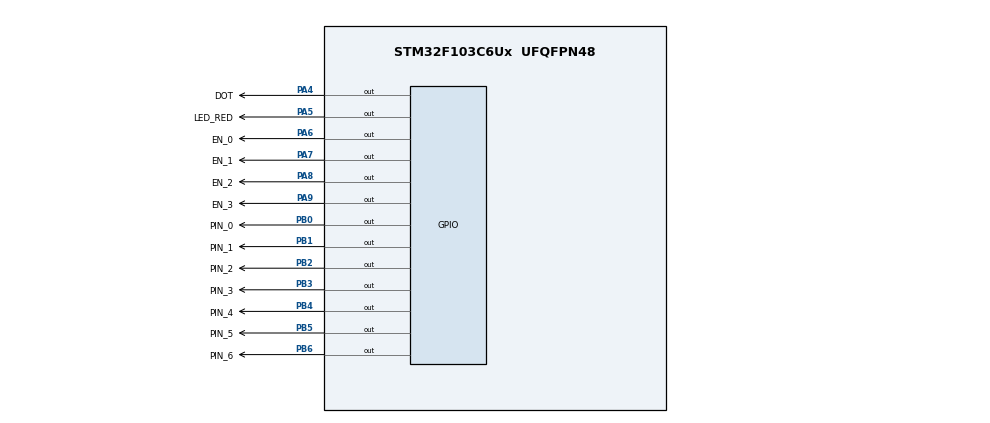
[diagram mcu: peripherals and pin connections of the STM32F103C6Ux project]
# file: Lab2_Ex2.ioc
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Mcu.Family=STM32F1
Mcu.Name=STM32F103C6Ux
Mcu.Package=UFQFPN48
NVIC.PriorityGroup=NVIC_PRIORITYGROUP_4
NVIC.TIM2_IRQn=true\:0\:0\:false\:false\:true\:true\:true
PA4.GPIO_Label=DOT
PA4.Signal=GPIO_Output
PA5.GPIO_Label=LED_RED
PA5.Signal=GPIO_Output
PA6.GPIO_Label=EN_0
PA6.Signal=GPIO_Output
PA7.GPIO_Label=EN_1
PA7.Signal=GPIO_Output
PA8.GPIO_Label=EN_2
PA8.Signal=GPIO_Output
PA9.GPIO_Label=EN_3
PA9.Signal=GPIO_Output
PB0.GPIO_Label=PIN_0
PB0.Signal=GPIO_Output
PB1.GPIO_Label=PIN_1
PB1.Signal=GPIO_Output
PB2.GPIO_Label=PIN_2
PB2.Signal=GPIO_Output
PB3.GPIO_Label=PIN_3
PB3.Signal=GPIO_Output
PB4.GPIO_Label=PIN_4
PB4.Signal=GPIO_Output
PB5.GPIO_Label=PIN_5
PB5.Signal=GPIO_Output
PB6.GPIO_Label=PIN_6
PB6.Signal=GPIO_Output
ProjectManager.HeapSize=0x200
ProjectManager.StackSize=0x400
ProjectManager.TargetToolchain=STM32CubeIDE
RCC.APB1Freq_Value=8000000
RCC.APB2Freq_Value=8000000
TIM2.Period=9
TIM2.Prescaler=7999
VP_SYS_VS_ND.Mode=No_Debug
VP_TIM2_VS_ClockSourceINT.Mode=Internal
board=custom

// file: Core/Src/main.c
/* USER CODE BEGIN Header */
/**
  ******************************************************************************
  * @file           : main.c
  * @brief          : Main program body
  ******************************************************************************
  * @attention
  *
  * <h2><center>&copy; Copyright (c) 2025 STMicroelectronics.
  * All rights reserved.</center></h2>
  *
  * This software component is licensed by ST under BSD 3-Clause license,
  * the "License"; You may not use this file except in compliance with the
  * License. You may obtain a copy of the License at:
  *                        opensource.org/licenses/BSD-3-Clause
  *
  ******************************************************************************
  */
/* USER CODE END Header */
#include "main.h"

TIM_HandleTypeDef htim2;

/* USER CODE BEGIN PV */
const int MAX_LED = 4;
int index_led = 0;
int led_buffer[4] = {1, 2, 3, 4};
/* USER CODE END PV */

void SystemClock_Config(void);
static void MX_TIM2_Init(void);
static void MX_GPIO_Init(void);

int main(void)
{

  /* MCU Configuration--------------------------------------------------------*/

  /* Reset of all peripherals, Initializes the Flash interface and the Systick. */
  HAL_Init();

  /* Configure the system clock */
  SystemClock_Config();

  /* Initialize all configured peripherals */
  MX_TIM2_Init();
  MX_GPIO_Init();
  /* USER CODE BEGIN 2 */
  HAL_TIM_Base_Start_IT (& htim2 );
  /* USER CODE END 2 */

  /* Infinite loop */
  while (1)
  {

  }
}

void SystemClock_Config(void)
{
  RCC_OscInitTypeDef RCC_OscInitStruct = {0};
  RCC_ClkInitTypeDef RCC_ClkInitStruct = {0};

  /** Initializes the RCC Oscillators according to the specified parameters
  * in the RCC_OscInitTypeDef structure.
  */
  RCC_OscInitStruct.OscillatorType = RCC_OSCILLATORTYPE_HSI;
  RCC_OscInitStruct.HSIState = RCC_HSI_ON;
  RCC_OscInitStruct.HSICalibrationValue = RCC_HSICALIBRATION_DEFAULT;
  RCC_OscInitStruct.PLL.PLLState = RCC_PLL_NONE;
  if (HAL_RCC_OscConfig(&RCC_OscInitStruct) != HAL_OK)
  {
    Error_Handler();
  }
  /** Initializes the CPU, AHB and APB buses clocks
  */
  RCC_ClkInitStruct.ClockType = RCC_CLOCKTYPE_HCLK|RCC_CLOCKTYPE_SYSCLK
                              |RCC_CLOCKTYPE_PCLK1|RCC_CLOCKTYPE_PCLK2;
  RCC_ClkInitStruct.SYSCLKSource = RCC_SYSCLKSOURCE_HSI;
  RCC_ClkInitStruct.AHBCLKDivider = RCC_SYSCLK_DIV1;
  RCC_ClkInitStruct.APB1CLKDivider = RCC_HCLK_DIV1;
  RCC_ClkInitStruct.APB2CLKDivider = RCC_HCLK_DIV1;

  if (HAL_RCC_ClockConfig(&RCC_ClkInitStruct, FLASH_LATENCY_0) != HAL_OK)
  {
    Error_Handler();
  }
}

static void MX_TIM2_Init(void)
{

  TIM_ClockConfigTypeDef sClockSourceConfig = {0};
  TIM_MasterConfigTypeDef sMasterConfig = {0};

  htim2.Instance = TIM2;
  htim2.Init.Prescaler = 7999;
  htim2.Init.CounterMode = TIM_COUNTERMODE_UP;
  htim2.Init.Period = 9;
  htim2.Init.ClockDivision = TIM_CLOCKDIVISION_DIV1;
  htim2.Init.AutoReloadPreload = TIM_AUTORELOAD_PRELOAD_DISABLE;
  if (HAL_TIM_Base_Init(&htim2) != HAL_OK)
  {
    Error_Handler();
  }
  sClockSourceConfig.ClockSource = TIM_CLOCKSOURCE_INTERNAL;
  if (HAL_TIM_ConfigClockSource(&htim2, &sClockSourceConfig) != HAL_OK)
  {
    Error_Handler();
  }
  sMasterConfig.MasterOutputTrigger = TIM_TRGO_RESET;
  sMasterConfig.MasterSlaveMode = TIM_MASTERSLAVEMODE_DISABLE;
  if (HAL_TIMEx_MasterConfigSynchronization(&htim2, &sMasterConfig) != HAL_OK)
  {
    Error_Handler();
  }

}

static void MX_GPIO_Init(void)
{
  GPIO_InitTypeDef GPIO_InitStruct = {0};

  /* GPIO Ports Clock Enable */
  __HAL_RCC_GPIOA_CLK_ENABLE();
  __HAL_RCC_GPIOB_CLK_ENABLE();

  /*Configure GPIO pin Output Level */
  HAL_GPIO_WritePin(GPIOA, DOT_Pin|LED_RED_Pin|EN_0_Pin|EN_1_Pin
                          |EN_2_Pin|EN_3_Pin, GPIO_PIN_RESET);

  /*Configure GPIO pin Output Level */
  HAL_GPIO_WritePin(GPIOB, PIN_0_Pin|PIN_1_Pin|PIN_2_Pin|PIN_3_Pin
                          |PIN_4_Pin|PIN_5_Pin|PIN_6_Pin, GPIO_PIN_RESET);

  /*Configure GPIO pins : DOT_Pin LED_RED_Pin EN_0_Pin EN_1_Pin
                           EN_2_Pin EN_3_Pin */
  GPIO_InitStruct.Pin = DOT_Pin|LED_RED_Pin|EN_0_Pin|EN_1_Pin
                          |EN_2_Pin|EN_3_Pin;
  GPIO_InitStruct.Mode = GPIO_MODE_OUTPUT_PP;
  GPIO_InitStruct.Pull = GPIO_NOPULL;
  GPIO_InitStruct.Speed = GPIO_SPEED_FREQ_LOW;
  HAL_GPIO_Init(GPIOA, &GPIO_InitStruct);

  /*Configure GPIO pins : PIN_0_Pin PIN_1_Pin PIN_2_Pin PIN_3_Pin
                           PIN_4_Pin PIN_5_Pin PIN_6_Pin */
  GPIO_InitStruct.Pin = PIN_0_Pin|PIN_1_Pin|PIN_2_Pin|PIN_3_Pin
                          |PIN_4_Pin|PIN_5_Pin|PIN_6_Pin;
  GPIO_InitStruct.Mode = GPIO_MODE_OUTPUT_PP;
  GPIO_InitStruct.Pull = GPIO_NOPULL;
  GPIO_InitStruct.Speed = GPIO_SPEED_FREQ_LOW;
  HAL_GPIO_Init(GPIOB, &GPIO_InitStruct);

}

/* USER CODE BEGIN 4 */
void update7SEG(int index){
	display7SEG(led_buffer[index]);
	switch(index){
		case 0:
			// Hiển thị số led_buffer[0] trên LED 1
			HAL_GPIO_WritePin(EN_1_GPIO_Port, EN_1_Pin, GPIO_PIN_SET);
			HAL_GPIO_WritePin(EN_2_GPIO_Port, EN_2_Pin, GPIO_PIN_SET);
			HAL_GPIO_WritePin(EN_3_GPIO_Port, EN_3_Pin, GPIO_PIN_SET);
			HAL_GPIO_WritePin(EN_0_GPIO_Port, EN_0_Pin, GPIO_PIN_RESET);
			break;
		case 1:
			// Hiển thị số led_buffer[1] trên LED 2
			HAL_GPIO_WritePin(EN_0_GPIO_Port, EN_0_Pin, GPIO_PIN_SET);
			HAL_GPIO_WritePin(EN_2_GPIO_Port, EN_2_Pin, GPIO_PIN_SET);
			HAL_GPIO_WritePin(EN_3_GPIO_Port, EN_3_Pin, GPIO_PIN_SET);
			HAL_GPIO_WritePin(EN_1_GPIO_Port, EN_1_Pin, GPIO_PIN_RESET);
			break;
		case 2:
			// Hiển thị số led_buffer[2] trên LED 3
			HAL_GPIO_WritePin(EN_0_GPIO_Port, EN_0_Pin, GPIO_PIN_SET);
			HAL_GPIO_WritePin(EN_1_GPIO_Port, EN_1_Pin, GPIO_PIN_SET);
			HAL_GPIO_WritePin(EN_3_GPIO_Port, EN_3_Pin, GPIO_PIN_SET);
			HAL_GPIO_WritePin(EN_2_GPIO_Port, EN_2_Pin, GPIO_PIN_RESET);
			break;
		case 3:
			// Hiển thị số led_buffer[3] trên LED 4
			HAL_GPIO_WritePin(EN_0_GPIO_Port, EN_0_Pin, GPIO_PIN_SET);
			HAL_GPIO_WritePin(EN_1_GPIO_Port, EN_1_Pin, GPIO_PIN_SET);
			HAL_GPIO_WritePin(EN_2_GPIO_Port, EN_2_Pin, GPIO_PIN_SET);
			HAL_GPIO_WritePin(EN_3_GPIO_Port, EN_3_Pin, GPIO_PIN_RESET);
			break;
		default:
			break;
	}
}
int timer_counter = 0;
void HAL_TIM_PeriodElapsedCallback(TIM_HandleTypeDef *htim) {
	if (htim->Instance == TIM2) {
		if (timer_counter % 25 == 0) {
			update7SEG(index_led);
			index_led++;
			if (index_led >= MAX_LED) {
				index_led = 0;
			}
		}

		if (timer_counter % 50 == 0) {
			HAL_GPIO_TogglePin(DOT_GPIO_Port, DOT_Pin);
		}

		timer_counter++;
		if (timer_counter >= 100) {
			timer_counter = 0;
		}
	}
}
void display7SEG(int num) {
    switch(num) {
      case 0:
        HAL_GPIO_WritePin(GPIOB, GPIO_PIN_0, GPIO_PIN_RESET); // a
        HAL_GPIO_WritePin(GPIOB, GPIO_PIN_1, GPIO_PIN_RESET); // b
        HAL_GPIO_WritePin(GPIOB, GPIO_PIN_2, GPIO_PIN_RESET); // c
        HAL_GPIO_WritePin(GPIOB, GPIO_PIN_3, GPIO_PIN_RESET); // d
        HAL_GPIO_WritePin(GPIOB, GPIO_PIN_4, GPIO_PIN_RESET); // e
        HAL_GPIO_WritePin(GPIOB, GPIO_PIN_5, GPIO_PIN_RESET); // f
        HAL_GPIO_WritePin(GPIOB, GPIO_PIN_6, GPIO_PIN_SET);   // g
        break;
      case 1:
        HAL_GPIO_WritePin(GPIOB, GPIO_PIN_0, GPIO_PIN_SET);   // a
        HAL_GPIO_WritePin(GPIOB, GPIO_PIN_1, GPIO_PIN_RESET); // b
        HAL_GPIO_WritePin(GPIOB, GPIO_PIN_2, GPIO_PIN_RESET); // c
        HAL_GPIO_WritePin(GPIOB, GPIO_PIN_3, GPIO_PIN_SET);   // d
        HAL_GPIO_WritePin(GPIOB, GPIO_PIN_4, GPIO_PIN_SET);   // e
        HAL_GPIO_WritePin(GPIOB, GPIO_PIN_5, GPIO_PIN_SET);   // f
        HAL_GPIO_WritePin(GPIOB, GPIO_PIN_6, GPIO_PIN_SET);   // g
        break;
      case 2:
        HAL_GPIO_WritePin(GPIOB, GPIO_PIN_0, GPIO_PIN_RESET); // a
        HAL_GPIO_WritePin(GPIOB, GPIO_PIN_1, GPIO_PIN_RESET); // b
        HAL_GPIO_WritePin(GPIOB, GPIO_PIN_2, GPIO_PIN_SET);   // c
        HAL_GPIO_WritePin(GPIOB, GPIO_PIN_3, GPIO_PIN_RESET); // d
        HAL_GPIO_WritePin(GPIOB, GPIO_PIN_4, GPIO_PIN_RESET); // e
        HAL_GPIO_WritePin(GPIOB, GPIO_PIN_5, GPIO_PIN_SET);   // f
        HAL_GPIO_WritePin(GPIOB, GPIO_PIN_6, GPIO_PIN_RESET); // g
        break;
      case 3:
        HAL_GPIO_WritePin(GPIOB, GPIO_PIN_0, GPIO_PIN_RESET); // a
        HAL_GPIO_WritePin(GPIOB, GPIO_PIN_1, GPIO_PIN_RESET); // b
        HAL_GPIO_WritePin(GPIOB, GPIO_PIN_2, GPIO_PIN_RESET); // c
        HAL_GPIO_WritePin(GPIOB, GPIO_PIN_3, GPIO_PIN_RESET); // d
        HAL_GPIO_WritePin(GPIOB, GPIO_PIN_4, GPIO_PIN_SET);   // e
        HAL_GPIO_WritePin(GPIOB, GPIO_PIN_5, GPIO_PIN_SET);   // f
        HAL_GPIO_WritePin(GPIOB, GPIO_PIN_6, GPIO_PIN_RESET); // g
        break;
      case 4:
        HAL_GPIO_WritePin(GPIOB, GPIO_PIN_0, GPIO_PIN_SET);   // a
        HAL_GPIO_WritePin(GPIOB, GPIO_PIN_1, GPIO_PIN_RESET); // b
        HAL_GPIO_WritePin(GPIOB, GPIO_PIN_2, GPIO_PIN_RESET); // c
        HAL_GPIO_WritePin(GPIOB, GPIO_PIN_3, GPIO_PIN_SET);   // d
        HAL_GPIO_WritePin(GPIOB, GPIO_PIN_4, GPIO_PIN_SET);   // e
        HAL_GPIO_WritePin(GPIOB, GPIO_PIN_5, GPIO_PIN_RESET); // f
        HAL_GPIO_WritePin(GPIOB, GPIO_PIN_6, GPIO_PIN_RESET); // g
        break;
      case 5:
        HAL_GPIO_WritePin(GPIOB, GPIO_PIN_0, GPIO_PIN_RESET); // a
        HAL_GPIO_WritePin(GPIOB, GPIO_PIN_1, GPIO_PIN_SET);   // b
        HAL_GPIO_WritePin(GPIOB, GPIO_PIN_2, GPIO_PIN_RESET); // c
        HAL_GPIO_WritePin(GPIOB, GPIO_PIN_3, GPIO_PIN_RESET); // d
        HAL_GPIO_WritePin(GPIOB, GPIO_PIN_4, GPIO_PIN_SET);   // e
        HAL_GPIO_WritePin(GPIOB, GPIO_PIN_5, GPIO_PIN_RESET); // f
        HAL_GPIO_WritePin(GPIOB, GPIO_PIN_6, GPIO_PIN_RESET); // g
        break;
      case 6:
        HAL_GPIO_WritePin(GPIOB, GPIO_PIN_0, GPIO_PIN_RESET); // a
        HAL_GPIO_WritePin(GPIOB, GPIO_PIN_1, GPIO_PIN_SET);   // b
        HAL_GPIO_WritePin(GPIOB, GPIO_PIN_2, GPIO_PIN_RESET); // c
        HAL_GPIO_WritePin(GPIOB, GPIO_PIN_3, GPIO_PIN_RESET); // d
        HAL_GPIO_WritePin(GPIOB, GPIO_PIN_4, GPIO_PIN_RESET); // e
        HAL_GPIO_WritePin(GPIOB, GPIO_PIN_5, GPIO_PIN_RESET); // f
        HAL_GPIO_WritePin(GPIOB, GPIO_PIN_6, GPIO_PIN_RESET); // g
        break;
      case 7:
        HAL_GPIO_WritePin(GPIOB, GPIO_PIN_0, GPIO_PIN_RESET); // a
        HAL_GPIO_WritePin(GPIOB, GPIO_PIN_1, GPIO_PIN_RESET); // b
        HAL_GPIO_WritePin(GPIOB, GPIO_PIN_2, GPIO_PIN_RESET); // c
        HAL_GPIO_WritePin(GPIOB, GPIO_PIN_3, GPIO_PIN_SET);   // d
        HAL_GPIO_WritePin(GPIOB, GPIO_PIN_4, GPIO_PIN_SET);   // e
        HAL_GPIO_WritePin(GPIOB, GPIO_PIN_5, GPIO_PIN_SET);   // f
        HAL_GPIO_WritePin(GPIOB, GPIO_PIN_6, GPIO_PIN_SET);   // g
        break;
      case 8:
        HAL_GPIO_WritePin(GPIOB, GPIO_PIN_0, GPIO_PIN_RESET); // a
        HAL_GPIO_WritePin(GPIOB, GPIO_PIN_1, GPIO_PIN_RESET); // b
        HAL_GPIO_WritePin(GPIOB, GPIO_PIN_2, GPIO_PIN_RESET); // c
        HAL_GPIO_WritePin(GPIOB, GPIO_PIN_3, GPIO_PIN_RESET); // d
        HAL_GPIO_WritePin(GPIOB, GPIO_PIN_4, GPIO_PIN_RESET); // e
        HAL_GPIO_WritePin(GPIOB, GPIO_PIN_5, GPIO_PIN_RESET); // f
        HAL_GPIO_WritePin(GPIOB, GPIO_PIN_6, GPIO_PIN_RESET); // g
        break;
      case 9:
        HAL_GPIO_WritePin(GPIOB, GPIO_PIN_0, GPIO_PIN_RESET); // a
        HAL_GPIO_WritePin(GPIOB, GPIO_PIN_1, GPIO_PIN_RESET); // b
        HAL_GPIO_WritePin(GPIOB, GPIO_PIN_2, GPIO_PIN_RESET); // c
        HAL_GPIO_WritePin(GPIOB, GPIO_PIN_3, GPIO_PIN_RESET); // d
        HAL_GPIO_WritePin(GPIOB, GPIO_PIN_4, GPIO_PIN_SET);   // e
        HAL_GPIO_WritePin(GPIOB, GPIO_PIN_5, GPIO_PIN_RESET); // f
        HAL_GPIO_WritePin(GPIOB, GPIO_PIN_6, GPIO_PIN_RESET); // g
        break;
      default:
        HAL_GPIO_WritePin(GPIOB, GPIO_PIN_0, GPIO_PIN_SET);
        HAL_GPIO_WritePin(GPIOB, GPIO_PIN_1, GPIO_PIN_SET);
        HAL_GPIO_WritePin(GPIOB, GPIO_PIN_2, GPIO_PIN_SET);
        HAL_GPIO_WritePin(GPIOB, GPIO_PIN_3, GPIO_PIN_SET);
        HAL_GPIO_WritePin(GPIOB, GPIO_PIN_4, GPIO_PIN_SET);
        HAL_GPIO_WritePin(GPIOB, GPIO_PIN_5, GPIO_PIN_SET);
        HAL_GPIO_WritePin(GPIOB, GPIO_PIN_6, GPIO_PIN_SET);
        break;
    }
  }

/* USER CODE END 4 */

void Error_Handler(void)
{
  __disable_irq();
  while (1)
  {
  }
}

/************************ (C) COPYRIGHT STMicroelectronics *****END OF FILE****/
